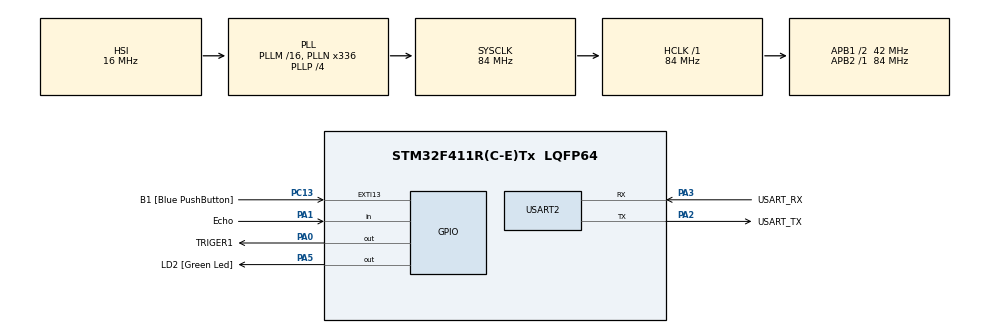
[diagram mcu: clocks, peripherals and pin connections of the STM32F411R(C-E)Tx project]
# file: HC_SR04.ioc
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Mcu.Family=STM32F4
Mcu.Name=STM32F411R(C-E)Tx
Mcu.Package=LQFP64
NVIC.PriorityGroup=NVIC_PRIORITYGROUP_0
PA0-WKUP.GPIO_Label=TRIGER1
PA0-WKUP.Signal=GPIO_Output
PA1.GPIO_Label=Echo
PA1.Signal=GPIO_Input
PA13.GPIO_Label=TMS
PA13.Mode=Serial_Wire
PA13.Signal=SYS_JTMS-SWDIO
PA14.GPIO_Label=TCK
PA14.Mode=Serial_Wire
PA14.Signal=SYS_JTCK-SWCLK
PA2.GPIO_Label=USART_TX
PA2.Mode=Asynchronous
PA2.Signal=USART2_TX
PA3.GPIO_Label=USART_RX
PA3.Mode=Asynchronous
PA3.Signal=USART2_RX
PA5.GPIO_Label=LD2 [Green Led]
PA5.Signal=GPIO_Output
PB3.GPIO_Label=SWO
PB3.Signal=SYS_JTDO-SWO
PC13-ANTI_TAMP.GPIO_Label=B1 [Blue PushButton]
PC13-ANTI_TAMP.GPIO_ModeDefaultEXTI=GPIO_MODE_IT_FALLING
PC13-ANTI_TAMP.Signal=GPXTI13
PC14-OSC32_IN.Signal=RCC_OSC32_IN
PC15-OSC32_OUT.Signal=RCC_OSC32_OUT
PH0\ -\ OSC_IN.Signal=RCC_OSC_IN
PH1\ -\ OSC_OUT.Signal=RCC_OSC_OUT
ProjectManager.HeapSize=0x200
ProjectManager.StackSize=0x400
ProjectManager.TargetToolchain=STM32CubeIDE
RCC.48MHZClocksFreq_Value=84000000
RCC.AHBFreq_Value=84000000
RCC.APB1CLKDivider=RCC_HCLK_DIV2
RCC.APB1Freq_Value=42000000
RCC.APB1TimFreq_Value=84000000
RCC.APB2Freq_Value=84000000
RCC.APB2TimFreq_Value=84000000
RCC.CortexFreq_Value=84000000
RCC.FLatency-AdvancedSettings=FLASH_LATENCY_2
RCC.HCLKFreq_Value=84000000
RCC.HSE_VALUE=8000000
RCC.HSI_VALUE=16000000
RCC.LSE_VALUE=32768
RCC.PLLN=336
RCC.PLLP=RCC_PLLP_DIV4
RCC.SYSCLKFreq_VALUE=84000000
RCC.SYSCLKSource=RCC_SYSCLKSOURCE_PLLCLK
RCC.VCOOutputFreq_Value=336000000
TIM1.AutoReloadPreload=TIM_AUTORELOAD_PRELOAD_ENABLE
TIM1.Prescaler=84-1
USART2.VirtualMode=VM_ASYNC
VP_TIM1_VS_ClockSourceINT.Mode=Internal
board=NUCLEO-F411RE

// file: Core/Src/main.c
/* USER CODE BEGIN Header */
/**
  ******************************************************************************
  * @file           : main.c
  * @brief          : Main program body
  ******************************************************************************
  * @attention
  *
  * Copyright (c) 2026 STMicroelectronics.
  * All rights reserved.
  *
  * This software is licensed under terms that can be found in the LICENSE file
  * in the root directory of this software component.
  * If no LICENSE file comes with this software, it is provided AS-IS.
  *
  ******************************************************************************
  */
/* USER CODE END Header */
#include "main.h"

/* USER CODE BEGIN Includes */
#include "stdio.h"
/* USER CODE END Includes */

/* USER CODE BEGIN PD */
#define HIGH 	1
#define LOW 	0
long unsigned int echo_time;
int dist;
/* USER CODE END PD */

TIM_HandleTypeDef htim1;

UART_HandleTypeDef huart2;

void SystemClock_Config(void);
static void MX_GPIO_Init(void);
static void MX_USART2_UART_Init(void);
static void MX_TIM1_Init(void);

/* USER CODE BEGIN 0 */
#ifdef __GNUC__
/* With GCC, small printf (option LD Linker->Libraries->Small printf
   set to 'Yes') calls __io_putchar() */
#define PUTCHAR_PROTOTYPE int __io_putchar(int ch)
#else
#define PUTCHAR_PROTOTYPE int fputc(int ch, FILE *f)
#endif /* __GNUC__ */

/**
  * @brief  Retargets the C library printf function to the USART.
  * @param  None
  * @retval None
  */
PUTCHAR_PROTOTYPE
{
  /* Place your implementation of fputc here */
  /* e.g. write a character to the USART1 and Loop until the end of transmission */
  if (ch == '\n')
    HAL_UART_Transmit (&huart2, (uint8_t*) "\r", 1, 0xFFFF);
  HAL_UART_Transmit (&huart2, (uint8_t*) &ch, 1, 0xFFFF);

  return ch;
}

void timer_start(void)
{
   HAL_TIM_Base_Start(&htim1);
}

void delay_us(uint16_t us)
{
   __HAL_TIM_SET_COUNTER(&htim1, 0); // initislize counter to start from 0
   while((__HAL_TIM_GET_COUNTER(&htim1))<us); // wait count until us
}

void trig(void)
{
   HAL_GPIO_WritePin(TRIGER1_GPIO_Port, TRIGER1_Pin, HIGH);
   delay_us(10);
   HAL_GPIO_WritePin(TRIGER1_GPIO_Port, TRIGER1_Pin, LOW);
}

/**
* @brief echo 신호가 HIGH를 유지하는 시간을 (㎲)단위로 측정하여 리턴한다.
* @param no param(void)
*/
long unsigned int echo(void)
{
   long unsigned int echo = 0;

   while(HAL_GPIO_ReadPin(Echo_GPIO_Port, Echo_Pin) == LOW){}
        __HAL_TIM_SET_COUNTER(&htim1, 0);
        while(HAL_GPIO_ReadPin(Echo_GPIO_Port, Echo_Pin) == HIGH);
        echo = __HAL_TIM_GET_COUNTER(&htim1);
   if( echo >= 240 && echo <= 23000 ) return echo;
   else return 0;
}

/* USER CODE END 0 */

int main(void)
{

  /* MCU Configuration--------------------------------------------------------*/

  /* Reset of all peripherals, Initializes the Flash interface and the Systick. */
  HAL_Init();

  /* Configure the system clock */
  SystemClock_Config();

  /* Initialize all configured peripherals */
  MX_GPIO_Init();
  MX_USART2_UART_Init();
  MX_TIM1_Init();
  /* USER CODE BEGIN 2 */
  timer_start();
  /* USER CODE END 2 */

  /* Infinite loop */
  /* USER CODE BEGIN WHILE */
  while (1)
  {
	  trig();
	  echo_time = echo();
		  if( echo_time != 0){
			  dist = (int)(17 * echo_time / 100);
			  printf("Distance = %d(mm)\n", dist);
		  }
		  else printf("Out of Range!\n");
	  HAL_Delay(300);
    /* USER CODE END WHILE */

  }
}

void SystemClock_Config(void)
{
  RCC_OscInitTypeDef RCC_OscInitStruct = {0};
  RCC_ClkInitTypeDef RCC_ClkInitStruct = {0};

  /** Configure the main internal regulator output voltage
  */
  __HAL_RCC_PWR_CLK_ENABLE();
  __HAL_PWR_VOLTAGESCALING_CONFIG(PWR_REGULATOR_VOLTAGE_SCALE1);

  /** Initializes the RCC Oscillators according to the specified parameters
  * in the RCC_OscInitTypeDef structure.
  */
  RCC_OscInitStruct.OscillatorType = RCC_OSCILLATORTYPE_HSI;
  RCC_OscInitStruct.HSIState = RCC_HSI_ON;
  RCC_OscInitStruct.HSICalibrationValue = RCC_HSICALIBRATION_DEFAULT;
  RCC_OscInitStruct.PLL.PLLState = RCC_PLL_ON;
  RCC_OscInitStruct.PLL.PLLSource = RCC_PLLSOURCE_HSI;
  RCC_OscInitStruct.PLL.PLLM = 16;
  RCC_OscInitStruct.PLL.PLLN = 336;
  RCC_OscInitStruct.PLL.PLLP = RCC_PLLP_DIV4;
  RCC_OscInitStruct.PLL.PLLQ = 4;
  if (HAL_RCC_OscConfig(&RCC_OscInitStruct) != HAL_OK)
  {
    Error_Handler();
  }

  /** Initializes the CPU, AHB and APB buses clocks
  */
  RCC_ClkInitStruct.ClockType = RCC_CLOCKTYPE_HCLK|RCC_CLOCKTYPE_SYSCLK
                              |RCC_CLOCKTYPE_PCLK1|RCC_CLOCKTYPE_PCLK2;
  RCC_ClkInitStruct.SYSCLKSource = RCC_SYSCLKSOURCE_PLLCLK;
  RCC_ClkInitStruct.AHBCLKDivider = RCC_SYSCLK_DIV1;
  RCC_ClkInitStruct.APB1CLKDivider = RCC_HCLK_DIV2;
  RCC_ClkInitStruct.APB2CLKDivider = RCC_HCLK_DIV1;

  if (HAL_RCC_ClockConfig(&RCC_ClkInitStruct, FLASH_LATENCY_2) != HAL_OK)
  {
    Error_Handler();
  }
}

static void MX_TIM1_Init(void)
{

  TIM_ClockConfigTypeDef sClockSourceConfig = {0};
  TIM_MasterConfigTypeDef sMasterConfig = {0};

  htim1.Instance = TIM1;
  htim1.Init.Prescaler = 84-1;
  htim1.Init.CounterMode = TIM_COUNTERMODE_UP;
  htim1.Init.Period = 65535;
  htim1.Init.ClockDivision = TIM_CLOCKDIVISION_DIV1;
  htim1.Init.RepetitionCounter = 0;
  htim1.Init.AutoReloadPreload = TIM_AUTORELOAD_PRELOAD_ENABLE;
  if (HAL_TIM_Base_Init(&htim1) != HAL_OK)
  {
    Error_Handler();
  }
  sClockSourceConfig.ClockSource = TIM_CLOCKSOURCE_INTERNAL;
  if (HAL_TIM_ConfigClockSource(&htim1, &sClockSourceConfig) != HAL_OK)
  {
    Error_Handler();
  }
  sMasterConfig.MasterOutputTrigger = TIM_TRGO_RESET;
  sMasterConfig.MasterSlaveMode = TIM_MASTERSLAVEMODE_DISABLE;
  if (HAL_TIMEx_MasterConfigSynchronization(&htim1, &sMasterConfig) != HAL_OK)
  {
    Error_Handler();
  }

}

static void MX_USART2_UART_Init(void)
{

  huart2.Instance = USART2;
  huart2.Init.BaudRate = 115200;
  huart2.Init.WordLength = UART_WORDLENGTH_8B;
  huart2.Init.StopBits = UART_STOPBITS_1;
  huart2.Init.Parity = UART_PARITY_NONE;
  huart2.Init.Mode = UART_MODE_TX_RX;
  huart2.Init.HwFlowCtl = UART_HWCONTROL_NONE;
  huart2.Init.OverSampling = UART_OVERSAMPLING_16;
  if (HAL_UART_Init(&huart2) != HAL_OK)
  {
    Error_Handler();
  }

}

static void MX_GPIO_Init(void)
{
  GPIO_InitTypeDef GPIO_InitStruct = {0};

  /* GPIO Ports Clock Enable */
  __HAL_RCC_GPIOC_CLK_ENABLE();
  __HAL_RCC_GPIOH_CLK_ENABLE();
  __HAL_RCC_GPIOA_CLK_ENABLE();
  __HAL_RCC_GPIOB_CLK_ENABLE();

  /*Configure GPIO pin Output Level */
  HAL_GPIO_WritePin(GPIOA, TRIGER1_Pin|LD2_Pin, GPIO_PIN_RESET);

  /*Configure GPIO pin : B1_Pin */
  GPIO_InitStruct.Pin = B1_Pin;
  GPIO_InitStruct.Mode = GPIO_MODE_IT_FALLING;
  GPIO_InitStruct.Pull = GPIO_NOPULL;
  HAL_GPIO_Init(B1_GPIO_Port, &GPIO_InitStruct);

  /*Configure GPIO pins : TRIGER1_Pin LD2_Pin */
  GPIO_InitStruct.Pin = TRIGER1_Pin|LD2_Pin;
  GPIO_InitStruct.Mode = GPIO_MODE_OUTPUT_PP;
  GPIO_InitStruct.Pull = GPIO_NOPULL;
  GPIO_InitStruct.Speed = GPIO_SPEED_FREQ_LOW;
  HAL_GPIO_Init(GPIOA, &GPIO_InitStruct);

  /*Configure GPIO pin : Echo_Pin */
  GPIO_InitStruct.Pin = Echo_Pin;
  GPIO_InitStruct.Mode = GPIO_MODE_INPUT;
  GPIO_InitStruct.Pull = GPIO_NOPULL;
  HAL_GPIO_Init(Echo_GPIO_Port, &GPIO_InitStruct);

}

void Error_Handler(void)
{
  __disable_irq();
  while (1)
  {
  }
}
